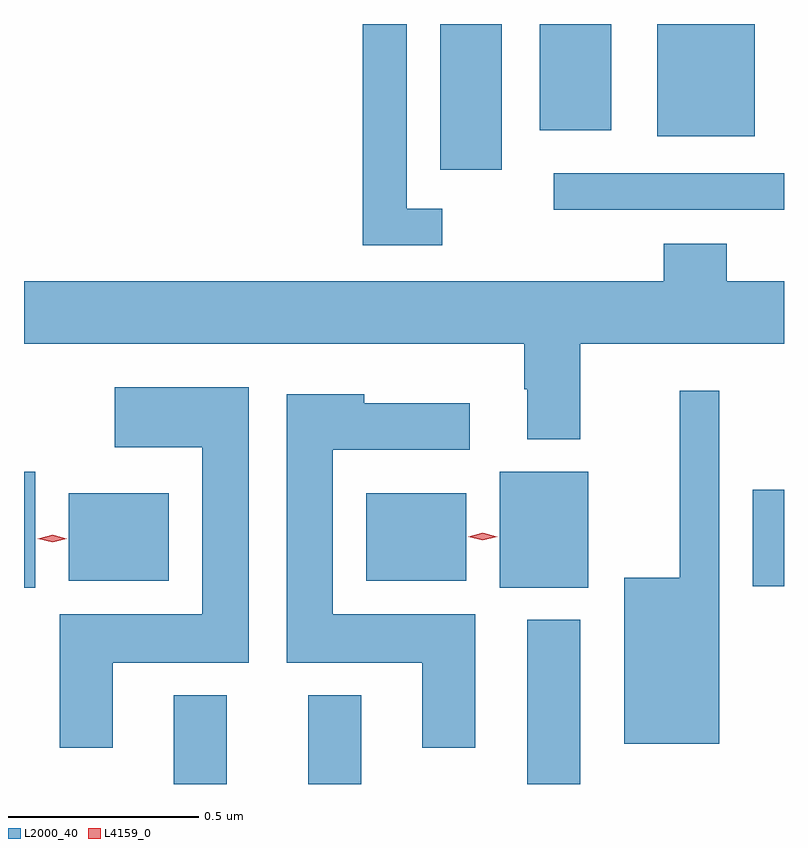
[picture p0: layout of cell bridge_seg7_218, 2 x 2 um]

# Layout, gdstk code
import gdstk
lib = gdstk.Library(unit=1e-6, precision=1e-09)
def R(c, l, rs):  # rectangles x0, y0, x1, y1
    for r in rs: c.add(gdstk.rectangle(r[:2], r[2:], *l))
def P(c, l, *ps):  # polygons
    for p in ps: c.add(gdstk.Polygon(p, *l))
L2000_40 = (2000, 40)
L4159_0 = (4159, 0)

bridge_seg7_218 = lib.new_cell('bridge_seg7_218')
R(bridge_seg7_218, L2000_40, [(225.893,1015.441,226.033,1015.675), (226.247,1015.441,226.387,1015.675), (226.823,1015.441,226.963,1015.873), (225.499,1015.958,225.529,1016.263), (226.751,1015.958,226.984,1016.263), (227.417,1015.961,227.499,1016.215), (225.617,1015.976,225.88,1016.206), (226.4,1015.976,226.663,1016.206), (226.893,1016.952,227.499,1017.048), (226.595,1017.057,226.756,1017.441), (227.165,1017.146,227.422,1017.441), (226.856,1017.161,227.044,1017.441)])
P(bridge_seg7_218, L2000_40, [(226.6,1016.955),(226.506,1016.955),(226.506,1017.441),(226.39,1017.441),(226.39,1016.859),(226.6,1016.859)],
  [(226.963,1016.6),(227.499,1016.6),(227.499,1016.764),(227.348,1016.764),(227.348,1016.863),(227.183,1016.863),(227.183,1016.764),(225.499,1016.764),(225.499,1016.6),(226.816,1016.6),(226.816,1016.48),(226.823,1016.48),(226.823,1016.348),(226.963,1016.348)],
  [(225.733,1015.76),(226.09,1015.76),(226.09,1016.485),(225.738,1016.485),(225.738,1016.327),(225.968,1016.327),(225.968,1015.888),(225.593,1015.888),(225.593,1015.536),(225.733,1015.536)],
  [(227.329,1016.476),(227.225,1016.476),(227.225,1015.984),(227.078,1015.984),(227.078,1015.547),(227.329,1015.547)],
  [(226.687,1015.888),(226.312,1015.888),(226.312,1016.321),(226.672,1016.321),(226.672,1016.443),(226.395,1016.443),(226.395,1016.467),(226.19,1016.467),(226.19,1015.76),(226.547,1015.76),(226.547,1015.536),(226.687,1015.536)])
P(bridge_seg7_218, L4159_0, [(225.574,1016.077),(225.535,1016.086),(225.535,1016.087),(225.535,1016.087),(225.574,1016.097),(225.612,1016.087),(225.612,1016.087),(225.612,1016.087)],
  [(226.706,1016.082),(226.668,1016.092),(226.668,1016.092),(226.668,1016.092),(226.706,1016.102),(226.745,1016.092),(226.745,1016.092),(226.745,1016.092)])

lib.write_gds('bridge_seg7_218.gds')
